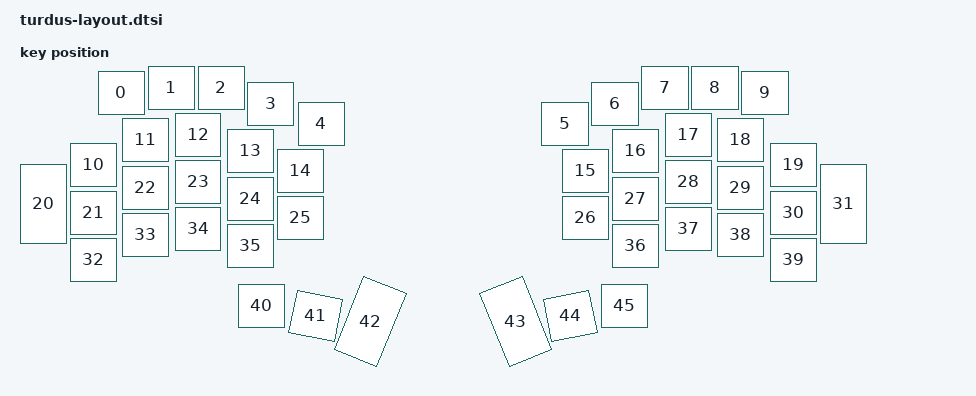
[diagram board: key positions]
#include <physical_layouts.dtsi>

/{ 
    default_layout: default_layout {
        compatible = "zmk,physical-layout";
        display-name = "Default Layout";
        transform = <&default_transform>;
        kscan = <&kscan2>;
        keys  //                     w   h    x    y     rot    rx    ry
            = <&key_physical_attrs 100  94  156   11       0     0     0>
            , <&key_physical_attrs 100  94  256    0       0     0     0>
            , <&key_physical_attrs 100  94  356    0       0     0     0>
            , <&key_physical_attrs 100  94  455   33       0     0     0>
            , <&key_physical_attrs 100  94  556   72       0     0     0>
            , <&key_physical_attrs 100  94 1044   72       0     0     0>
            , <&key_physical_attrs 100  94 1144   33       0     0     0>
            , <&key_physical_attrs 100  94 1244    0       0     0     0>
            , <&key_physical_attrs 100  94 1344    0       0     0     0>
            , <&key_physical_attrs 100  94 1444   11       0     0     0>
            , <&key_physical_attrs 100  94  100  155       0     0     0>
            , <&key_physical_attrs 100  94  204  105       0     0     0>
            , <&key_physical_attrs 100  94  310   94       0     0     0>
            , <&key_physical_attrs 100  94  415  127       0     0     0>
            , <&key_physical_attrs 100  94  515  166       0     0     0>
            , <&key_physical_attrs 100  94 1085  166       0     0     0>
            , <&key_physical_attrs 100  94 1185  127       0     0     0>
            , <&key_physical_attrs 100  94 1290   94       0     0     0>
            , <&key_physical_attrs 100  94 1395  105       0     0     0>
            , <&key_physical_attrs 100  94 1500  155       0     0     0>
            , <&key_physical_attrs 100 165    0  197       0     0     0>
            , <&key_physical_attrs 100  94  100  250       0     0     0>
            , <&key_physical_attrs 100  94  204  200       0     0     0>
            , <&key_physical_attrs 100  94  310  189       0     0     0>
            , <&key_physical_attrs 100  94  415  222       0     0     0>
            , <&key_physical_attrs 100  94  515  261       0     0     0>
            , <&key_physical_attrs 100  94 1085  261       0     0     0>
            , <&key_physical_attrs 100  94 1185  222       0     0     0>
            , <&key_physical_attrs 100  94 1290  189       0     0     0>
            , <&key_physical_attrs 100  94 1395  200       0     0     0>
            , <&key_physical_attrs 100  94 1500  250       0     0     0>
            , <&key_physical_attrs 100 165 1600  197       0     0     0>
            , <&key_physical_attrs 100  94  100  344       0     0     0>
            , <&key_physical_attrs 100  94  204  294       0     0     0>
            , <&key_physical_attrs 100  94  310  283       0     0     0>
            , <&key_physical_attrs 100  94  415  316       0     0     0>
            , <&key_physical_attrs 100  94 1185  316       0     0     0>
            , <&key_physical_attrs 100  94 1290  283       0     0     0>
            , <&key_physical_attrs 100  94 1395  294       0     0     0>
            , <&key_physical_attrs 100  94 1500  344       0     0     0>
            , <&key_physical_attrs 100  94  437  437       0     0     0>
            , <&key_physical_attrs 100  94  555  448    1100   555   448>
            , <&key_physical_attrs 100 165  689  420    2200   689   420>
            , <&key_physical_attrs 100 165  911  420 (-2200)  1011   420>
            , <&key_physical_attrs 100  94 1045  448 (-1100)  1145   448>
            , <&key_physical_attrs 100  94 1163  437       0     0     0>
            ;
    };
};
